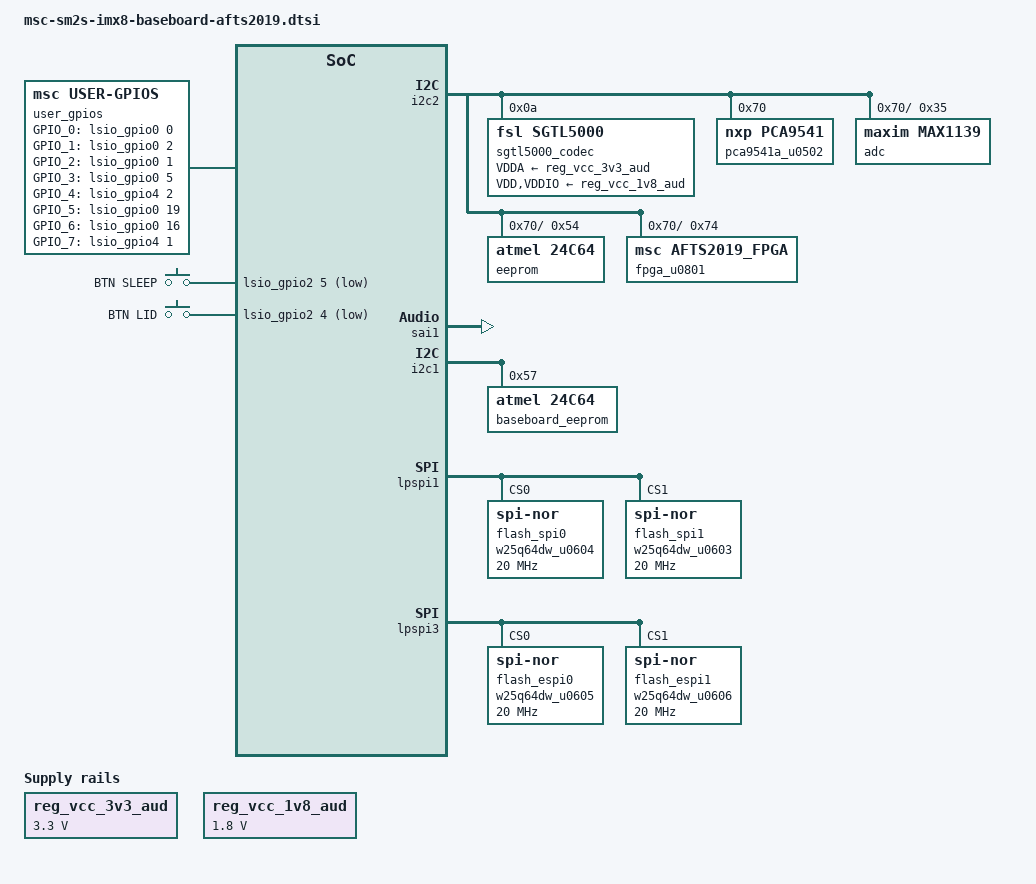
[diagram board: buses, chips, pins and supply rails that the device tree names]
/** @file      msc-sm2s-imx8-baseboard-afts2019.dtsi

    @copyright Copyright (C) 2021 by MSC Technologies GmbH
    SPDX-License Identifier: GPL-2.0-or-later

    @author    Markus Pietrek

    @details   Provides baseboard mappings that are merged at runtime with the CPU device tree.
*/

/dts-v1/;
/plugin/;

#include <dt-bindings/firmware/imx/rsrc.h>
#include <dt-bindings/gpio/gpio.h>
#include <dt-bindings/input/input.h>
#include <dt-bindings/pinctrl/pads-imx8qm-pintool-compatible.h>

/* USB mapping on AFTS2019
   | SM2 Port        | AFTS Connector                                                       | i.MX8 24N06E1I             | i.MX8 2406A0I |
   |-----------------|----------------------------------------------------------------------|----------------------------|---------------|
   | USB0            | Host Mode: X0704, Device Mode: X0705 (*1)                            | USB_OTG1                    | X             |
   | USB1            | X0701 (*1)                                                           | Hub U1001/USB_OTG2         | X             |
   | USB2, USB2_SSTX | Host Mode: X0707 (SS), X0706 (HS) (*2)                               | Hub U1001/USB_OTG2/USB_SS3 | X             |
   | USB3, USB3_SSTX | Host Mode: X0711 (SS), X0710 (HS) (*2), Device Mode: X0709 and X0708 |                                           | n.c.                       | n.c.          |
   | USB4            | X0702 (HS)                                                           | Hub U1001                  | X             |

   *1: IOW_USB0_USB1_LOOP=False otherwise internal loopback is used
       IOW_USB0_OTG_ID controls device or host mode
   *2: IOW_USB2_USB3_LOOP=False otherwise internal loopback is used
*/

/ {
	fragment@0 {
		target-path = "/";

		__overlay__ {
			baseboard-dtb = "MSC-AFTS2019-DV1"; /* just informal */
		};
	};

	fragment@1 {
		target = <&regulators>;
		__overlay__ {
			reg_vcc_3v3_aud: vcc_3v3_aud_regulator {
				compatible = "regulator-fixed";
				regulator-name = "3V3_AUD";
				regulator-min-microvolt = <3300000>;
				regulator-max-microvolt = <3300000>;
			};

			reg_vcc_1v8_aud: vcc_1v8_aud_regulator {
				compatible = "regulator-fixed";
				regulator-name = "1V8_AUD";
				regulator-min-microvolt = <1800000>;
				regulator-max-microvolt = <1800000>;
			};
		};
	};

	fragment@2 {
		target = <&i2c2>;
		__overlay__ {
			#address-cells = <1>;
			#size-cells = <0>;
			sgtl5000_codec: sgtl5000@a {
				compatible = "fsl,sgtl5000";
				reg = <0x0a>;
				pinctrl-names = "default";
				pinctrl-0 = <&pinctrl_audio_mclk>;

				clocks = <&mclkout0_lpcg 0>;
				clock-names = "mclk";
				assigned-clocks = <&clk IMX_SC_R_AUDIO_PLL_0 IMX_SC_PM_CLK_PLL>,
					<&clk IMX_SC_R_AUDIO_PLL_0 IMX_SC_PM_CLK_SLV_BUS>,
					<&clk IMX_SC_R_AUDIO_PLL_0 IMX_SC_PM_CLK_MST_BUS>,
					<&mclkout0_lpcg 0>;

				assigned-clock-rates = <786432000>, <49152000>, <12288000>;
				VDDA-supply = <&reg_vcc_3v3_aud>;
				VDD-supply = <&reg_vcc_1v8_aud>;
				VDDIO-supply = <&reg_vcc_1v8_aud>;
			};
		};
	};

	fragment@3 {
		target = <&sai1>;
		__overlay__ {
			pinctrl-names = "default";
			pinctrl-0 = <&pinctrl_i2s0>;
			status = "okay";
		};
	};

	fragment@4 {
		target-path = "/";
		__overlay__ {
			sgtl5000_sound: sgtl5000-sound {
				compatible = "fsl,imx-audio-sgtl5000";
				fsl,no-audmux;
				ssi-controller = <&sai1>;
				audio-codec = <&sgtl5000_codec>;
				model = "imx-sgtl5000";
				audio-routing =
						"LINE_IN", "Line In Jack",
						"MIC_IN", "Mic Jack",
						"Mic Jack", "Mic Bias",
						"Headphone Jack", "HP_OUT";
			};
		};
	};

	fragment@5 {
		target = <&i2c1>; /* i2c_pm */
		__overlay__ {
			#address-cells = <1>;
			#size-cells = <0>;
			baseboard_eeprom@57 {
				compatible = "atmel,24c64";
				reg = <0x57>;
			};
		};
	};

	fragment@6 {
		target = <&i2c2>; /* i2c_gp */
		__overlay__ {
			#address-cells = <1>;
			#size-cells = <0>;
			pca9541a_u0502@70 {
				compatible = "nxp,pca9541";
				reg = <0x70>; /* S0503 must be set all to on */

				i2c_arb: i2c-arb {
					#address-cells = <1>;
					#size-cells = <0>;

					adc@35 {
						compatible = "maxim,max1139";
						reg = <0x35>;
					};

					eeprom@54 {
						compatible = "atmel,24c64";
						reg = <0x54>;
					};

					fpga_u0801@74 {
						compatible = "msc,afts2019_fpga";
						reg = <0x74>;
					};
				};
			};
		};
	};

	fragment@7 {
		target-path = "/";
		__overlay__ {
			i2c_ids {
				i2c_thw {
					label = "thw";
					bus = <&i2c_arb>;
				};
			};
		};
	};

	fragment@8 {
		target = <&lpspi1>;
		__overlay__ {
			#address-cells = <1>;
			#size-cells = <0>;

			flash_spi0: w25q64dw_u0604@0 { // this one is socketed
				reg = <0>;
				#address-cells = <1>;
				#size-cells = <1>;
				compatible = "jedec,spi-nor";
				spi-max-frequency = <20000000>;
				spi-tx-bus-width = <1>;
				spi-rx-bus-width = <1>;
			};

			flash_spi1: w25q64dw_u0603@1 {
				reg = <1>;
				#address-cells = <1>;
				#size-cells = <1>;
				compatible = "jedec,spi-nor";
				spi-max-frequency = <20000000>;
				spi-tx-bus-width = <1>;
				spi-rx-bus-width = <1>;
			};
		};
	};

	fragment@9 {
		target = <&lpspi3>;
		__overlay__ {
			#address-cells = <1>;
			#size-cells = <0>;
			flash_espi0: w25q64dw_u0605@0 {
				reg = <0>;
				#address-cells = <1>;
				#size-cells = <1>;
				compatible = "jedec,spi-nor";
				spi-max-frequency = <20000000>;
				spi-tx-bus-width = <1>;
				spi-rx-bus-width = <1>;
			};
			flash_espi1: w25q64dw_u0606@1 {
				reg = <1>;
				#address-cells = <1>;
				#size-cells = <1>;
				compatible = "jedec,spi-nor";
				spi-max-frequency = <20000000>;
				spi-tx-bus-width = <1>;
				spi-rx-bus-width = <1>;
			};
		};
	};

	fragment@10 {
		target-path = "/";
		__overlay__ {
			user_gpios {
				compatible = "msc,user-gpios";
				pinctrl-names = "default";
				pinctrl-0 =
					<&pinctrl_smarc_gpio_gpio5_gpio>, // FAN is not connected, so configure pins as GPIOs even when we don't connect them to feature connector
					<&pinctrl_smarc_gpio_gpio6_gpio>; // should be couting pulses, but pins is neither connected to GPT nor TPM

				GPIO_0-gpios = <&lsio_gpio0 0 0>;
				GPIO_1-gpios = <&lsio_gpio0 2 0>;
				GPIO_2-gpios = <&lsio_gpio0 1 0>;
				GPIO_3-gpios = <&lsio_gpio0 5 0>;
				GPIO_4-gpios = <&lsio_gpio4 2 0>;
				GPIO_5-gpios = <&lsio_gpio0 19 0>;
				GPIO_6-gpios = <&lsio_gpio0 16 0>;
				GPIO_7-gpios = <&lsio_gpio4 1 0>;
#if MODULE_MES_REVISION != 20
				GPIO_8-gpios = <&lsio_gpio2 27 0>;
				GPIO_9-gpios = <&lsio_gpio1 18 0>;
				GPIO_10-gpios = <&lsio_gpio2 29 0>;
				GPIO_11-gpios = <&lsio_gpio1 17 0>;

				RSVD_09-gpios = <&lsio_gpio1 13 0>; /* GPIO_12 on SMARC 2.1.1 */
				RSVD_08-gpios = <&lsio_gpio1 7 0>; /* GPIO_13 on SMARC 2.1.1 */
#else
				GPIO_8-gpios = <&lsio_gpio0 30 0>;
				GPIO_9-gpios = <&lsio_gpio0 31 0>;
				GPIO_10-gpios = <&lsio_gpio1 0 0>;
				GPIO_11-gpios = <&lsio_gpio1 1 0>;
#endif

				/* FPGA names are provided directly by afts2019_fpga_gpios.c */
			};
		};
	};

	fragment@11 {
		target-path = "/";
		__overlay__ {
			gpio-keys {
				compatible = "gpio-keys";
				pinctrl-names = "default";
				pinctrl-0 = <&pinctrl_gpio_keys>;

				sleep-key {
					label = "BTN SLEEP"; // signal SLEEP#
					gpios = <&lsio_gpio2 5 GPIO_ACTIVE_LOW>;
					linux,code = <KEY_SLEEP>;
					linux,can-disable;
					debounce-interval = <5>;
				};

				lid-switch {
					label = "BTN LID"; // signal LID#
					gpios = <&lsio_gpio2 4 GPIO_ACTIVE_LOW>;
					linux,input-type = <EV_SW>;
					linux,code = <SW_LID>;
					linux,can-disable;
					debounce-interval = <5>;
					wakeup-source;
				};
			};
		};
	};
};
